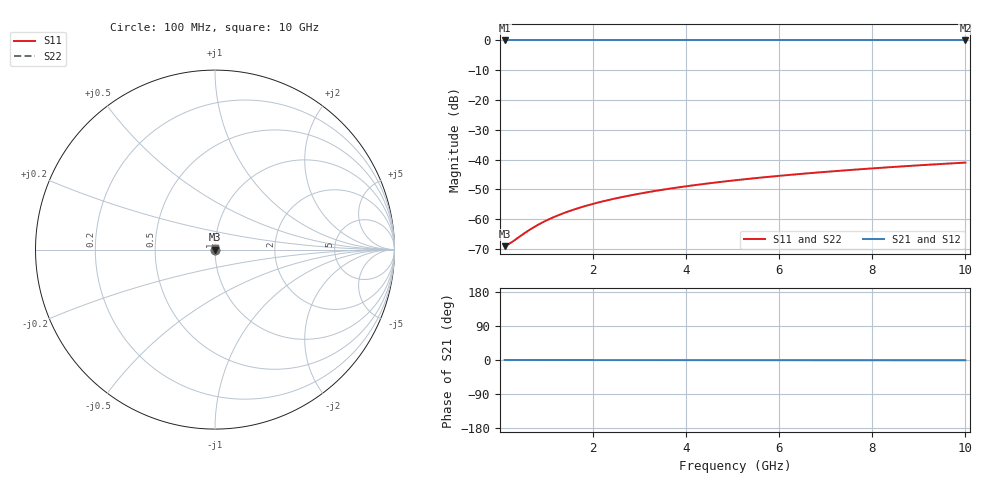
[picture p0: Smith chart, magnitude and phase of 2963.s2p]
# Hz S RI R 50.00
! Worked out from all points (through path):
!   100 points, 100 MHz to 10 GHz, reference 50 ohm
!   highest |S21| = 0.00 dB at 100 MHz (marker M1); lowest = 0.0 dB at 10 GHz (marker M2)
!   lowest |S11| = -69.0 dB at 100 MHz (marker M3), VSWR 1.00, Z = 50 + j0.00888 ohm
!   |S11| at or under -10 dB: start of sweep to end of sweep
!   |S22| runs from -69.0 to -41.0 dB; largest |S21 - S12| = 0
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1e8  0.000342 8.88e-05  0.9997 -0.000139  0.9997 -0.000139  0.000342 8.88e-05
2e8  0.000345 0.000178  0.9997 -0.000279  0.9997 -0.000279  0.000345 0.000178
3e8  0.000346 0.000266  0.9997 -0.000418  0.9997 -0.000418  0.000346 0.000266
5e8  0.000349 0.000444  0.9996 -0.000697  0.9996 -0.000697  0.000349 0.000444
7e8  0.000351 0.000621  0.9996 -0.000975  0.9996 -0.000975  0.000351 0.000621
9e8  0.000353 0.000799  0.9996 -0.00125  0.9996 -0.00125  0.000353 0.000799
1.1e9  0.000355 0.000976  0.9996 -0.00153  0.9996 -0.00153  0.000355 0.000976
1.3e9  0.000357 0.00115  0.9996 -0.00181  0.9996 -0.00181  0.000357 0.00115
1.5e9  0.000359 0.00133  0.9996 -0.00209  0.9996 -0.00209  0.000359 0.00133
1.8e9  0.000361 0.0016  0.9996 -0.00251  0.9996 -0.00251  0.000361 0.0016
2.1e9  0.000364 0.00186  0.9996 -0.00293  0.9996 -0.00293  0.000364 0.00186
2.5e9  0.000368 0.00222  0.9996 -0.00349  0.9996 -0.00349  0.000368 0.00222
2.9e9  0.000372 0.00257  0.9996 -0.00404  0.9996 -0.00404  0.000372 0.00257
3.4e9  0.000378 0.00302  0.9996 -0.00474  0.9996 -0.00474  0.000378 0.00302
3.8e9  0.000383 0.00337  0.9996 -0.0053  0.9996 -0.0053  0.000383 0.00337
4.2e9  0.000388 0.00373  0.9996 -0.00586  0.9996 -0.00586  0.000388 0.00373
5.1e9  0.000401 0.00453  0.9996 -0.00712  0.9996 -0.00712  0.000401 0.00453
5.9e9  0.000414 0.00524  0.9996 -0.00824  0.9996 -0.00824  0.000414 0.00524
6.7e9  0.000429 0.00596  0.9996 -0.00936  0.9996 -0.00936  0.000429 0.00596
7.5e9  0.000445 0.00667  0.9995 -0.0105  0.9995 -0.0105  0.000445 0.00667
8.4e9  0.000466 0.00748  0.9995 -0.0117  0.9995 -0.0117  0.000466 0.00748
1e10  0.000507 0.00891  0.9995 -0.014  0.9995 -0.014  0.000507 0.00891
